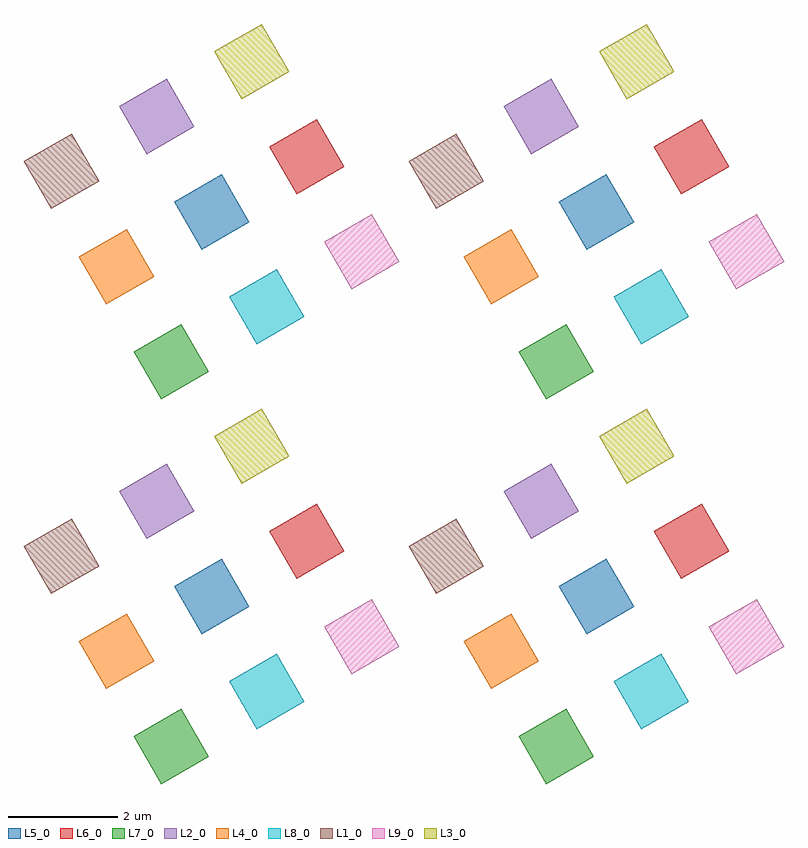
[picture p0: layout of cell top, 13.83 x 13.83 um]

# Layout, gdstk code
from math import pi, radians
import gdstk
lib = gdstk.Library(unit=1e-6, precision=1e-09)
def R(c, l, rs):  # rectangles x0, y0, x1, y1
    for r in rs: c.add(gdstk.rectangle(r[:2], r[2:], *l))
L1_0 = (1, 0)
L2_0 = (2, 0)
L3_0 = (3, 0)
L4_0 = (4, 0)
L5_0 = (5, 0)
L6_0 = (6, 0)
L7_0 = (7, 0)
L8_0 = (8, 0)
L9_0 = (9, 0)

bottom = lib.new_cell('bottom')
R(bottom, L1_0, [(0,4,1,5)])
R(bottom, L2_0, [(2,4,3,5)])
R(bottom, L3_0, [(4,4,5,5)])
R(bottom, L4_0, [(0,2,1,3)])
R(bottom, L5_0, [(2,1.99,3,3)])
R(bottom, L6_0, [(4,2,5,3)])
R(bottom, L7_0, [(0,0,1,1)])
R(bottom, L8_0, [(2,0,3,1)])
R(bottom, L9_0, [(4,0,5,1)])
bottom.add(gdstk.Label('1', (0.51,4.5), layer=1, texttype=0))
bottom.add(gdstk.Label('2', (2.5,4.5), layer=2, texttype=0))
bottom.add(gdstk.Label('3', (4.5,4.49), layer=3, texttype=0))
bottom.add(gdstk.Label('4', (0.5,2.5), layer=4, texttype=0))
bottom.add(gdstk.Label('5', (2.51,2.5), layer=5, texttype=0))
bottom.add(gdstk.Label('6', (4.51,2.5), layer=6, texttype=0))
bottom.add(gdstk.Label('7', (0.51,0.5), layer=7, texttype=0))
bottom.add(gdstk.Label('8', (2.51,0.49), layer=8, texttype=0))
bottom.add(gdstk.Label('9', (4.5,0.49), layer=9, texttype=0))

top = lib.new_cell('top')
r = gdstk.Reference(bottom, (2.61,0.22), rotation=radians(30)); r.repetition = gdstk.Repetition(2, 2, v1=(7,0), v2=(0,7)); top.add(r)

lib.write_gds('top.gds')
